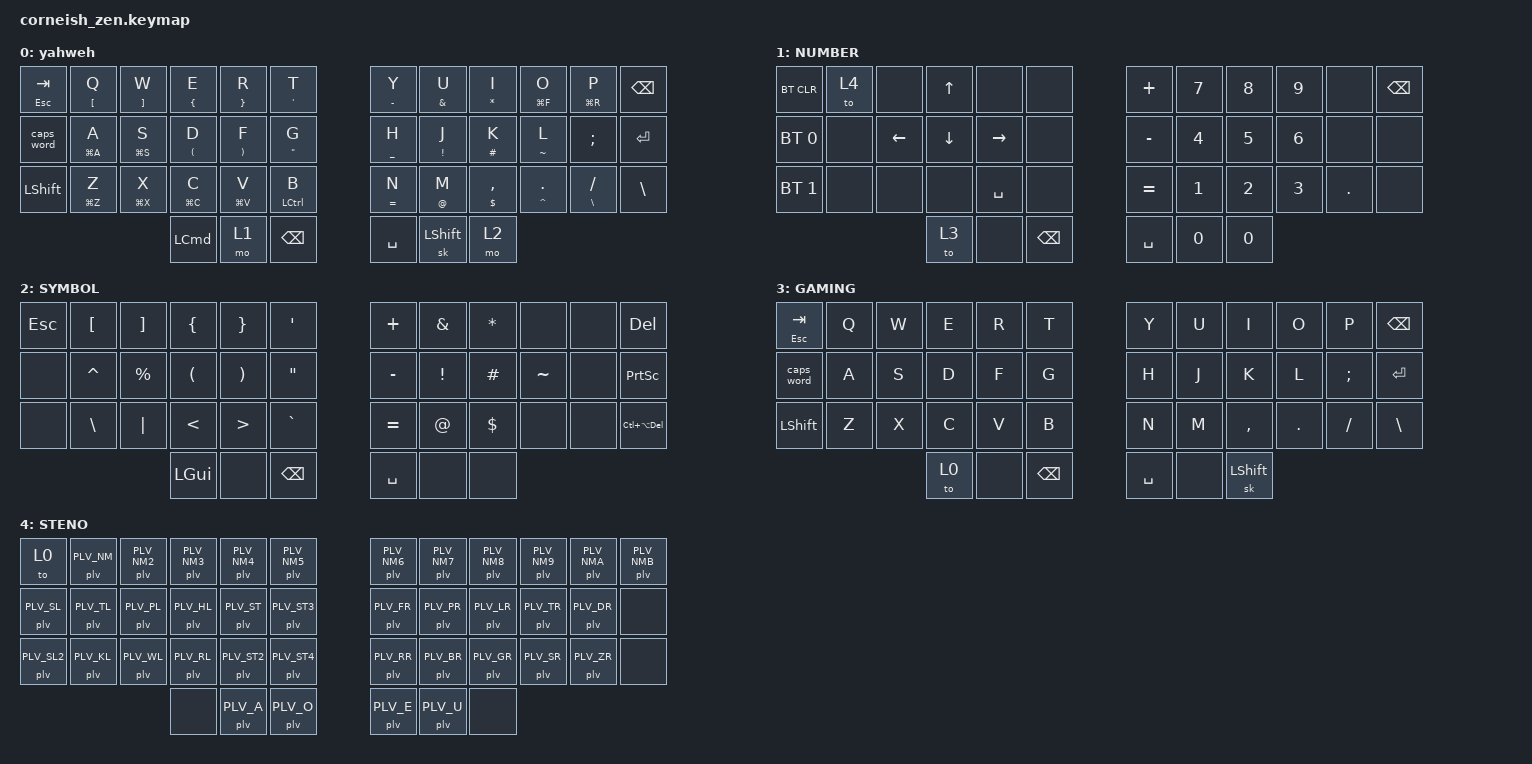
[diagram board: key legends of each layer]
#include <behaviors.dtsi>
#include <dt-bindings/zmk/keys.h>
#include <dt-bindings/zmk/bt.h>
#include <behaviors/plover_hid.dtsi>
#include <dt-bindings/zmk/hid-io/plover_hid.h>

/ {
  chosen {
    zmk,physical-layout = &foostan_corne_6col_layout;
    //zmk,physical-layout = &foostan_corne_5col_layout;
  };
};

&sk {
        release-after-ms = <2000>;
        quick-release;
};

&caps_word {
        continue-list = <UNDERSCORE MINUS BACKSPACE>;
};

/ {
        behaviors {
            ht: hold_tap {
                compatible = "zmk,behavior-hold-tap";
                label = "HOLD_TAP";
                #binding-cells = <2>;
                flavor = "tap-preferred";
                tapping-term-ms = <200>;
                quick-tap-ms = <125>;
                require-prior-idle-ms = <125>;
                bindings = <&kp>, <&kp>;
            };
        };

        keymap {
                compatible = "zmk,keymap";

                default_layer {
                        label = "yahweh";
                        bindings = <
   &ht ESC TAB &ht LBKT  Q &ht RBKT  W &ht LBRC  E &ht RBRC  R &ht SQT  T                &ht MINUS Y &ht AMPS U  &ht STAR I     &ht LG(F) O   &ht LG(R) P    &kp BSPC
   &caps_word  &ht LG(A) A &ht LG(S) S &ht LPAR  D &ht RPAR  F &ht DQT  G                &ht UNDER H &ht EXCL J  &ht HASH K     &ht TILDE L   &kp SEMI       &kp RET
   &kp LSHIFT  &ht LG(Z) Z &ht LG(X) X &ht LG(C) C &ht LG(V) V &ht LCTRL B               &ht EQUAL N &ht AT   M  &ht DLLR COMMA &ht CARET DOT &ht BSLH  FSLH &kp BSLH
        &kp LCMD &mo 1 &kp BSPC                                                                         &kp SPACE &sk LSHIFT &mo 2
                        >;
                };

                lower_layer {
                        label = "NUMBER";
                        bindings = <
   &bt BT_CLR   &to 4 &none    &kp UP   &none     &none                         &kp PLUS  &kp N7 &kp N8 &kp N9 &none   &kp BSPC
   &bt BT_SEL 0 &none &kp LEFT &kp DOWN &kp RIGHT &none                         &kp MINUS &kp N4 &kp N5 &kp N6 &none   &none
   &bt BT_SEL 1 &none &none    &none    &kp SPACE &none                         &kp EQUAL &kp N1 &kp N2 &kp N3 &kp DOT &none
        &to 3 &none &kp BSPC                                                                         &kp SPACE &kp N0 &kp N0
                        >;
                };

                raise_layer {
                        label = "SYMBOL";
                        bindings = <
   &kp ESC &kp LBKT  &kp RBKT  &kp LBRC &kp RBRC &kp SQT                   &kp PLUS  &kp AMPS &kp STAR &none     &none &kp DEL
   &none   &kp CARET &kp PRCNT &kp LPAR &kp RPAR &kp DQT                   &kp MINUS &kp EXCL &kp HASH &kp TILDE &none &kp PSCRN
   &none   &kp BSLH  &kp PIPE  &kp LT   &kp GT   &kp GRAVE                 &kp EQUAL &kp AT   &kp DLLR &none     &none &kp LC(LA(DEL))
        &kp LGUI &none &kp BSPC                                                               &kp SPACE &none &none
                        >;
                };

                gaming_layer {
                        label = "GAMING";
                        bindings = <
   &ht ESC TAB &kp Q &kp W &kp E &kp R &kp T                &kp Y &kp U  &kp I     &kp O   &kp P    &kp BSPC
   &caps_word  &kp A &kp S &kp D &kp F &kp G                &kp H &kp J  &kp K     &kp L   &kp SEMI &kp RET
   &kp LSHIFT  &kp Z &kp X &kp C &kp V &kp B                &kp N &kp M  &kp COMMA &kp DOT &kp FSLH &kp BSLH
        &to 0 &none &kp BSPC                                        &kp SPACE &none &sk LSHIFT
                        >;
                };

                // Dedicated Plover HID keys; distinct indices for repeated S/*/#.
                // Vowels are on thumbs. Top-left exits to the ordinary keymap.
                steno_layer {
                        label = "STENO";
                        bindings = <
   &to 0        &plv PLV_NM  &plv PLV_NM2 &plv PLV_NM3 &plv PLV_NM4 &plv PLV_NM5     &plv PLV_NM6 &plv PLV_NM7 &plv PLV_NM8 &plv PLV_NM9 &plv PLV_NMA &plv PLV_NMB
   &plv PLV_SL  &plv PLV_TL  &plv PLV_PL  &plv PLV_HL  &plv PLV_ST  &plv PLV_ST3     &plv PLV_FR  &plv PLV_PR  &plv PLV_LR  &plv PLV_TR  &plv PLV_DR  &none
   &plv PLV_SL2 &plv PLV_KL  &plv PLV_WL  &plv PLV_RL  &plv PLV_ST2 &plv PLV_ST4     &plv PLV_RR  &plv PLV_BR  &plv PLV_GR  &plv PLV_SR  &plv PLV_ZR  &none
                        &none &plv PLV_A &plv PLV_O                                  &plv PLV_E &plv PLV_U &none
                        >;
                };

        };
};
